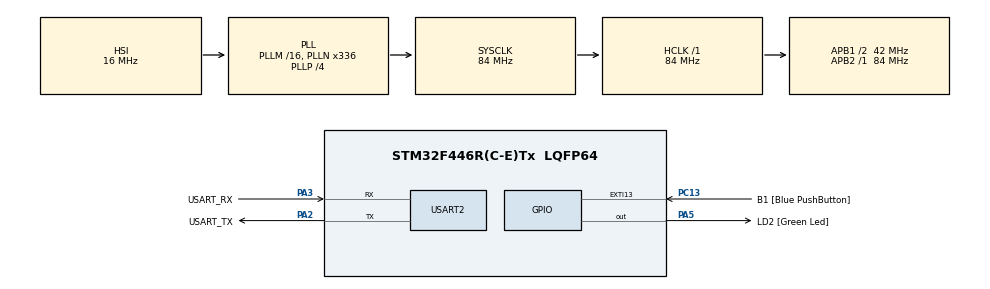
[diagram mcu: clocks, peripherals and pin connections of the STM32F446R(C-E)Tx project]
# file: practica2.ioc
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Mcu.Family=STM32F4
Mcu.Name=STM32F446R(C-E)Tx
Mcu.Package=LQFP64
NVIC.PriorityGroup=NVIC_PRIORITYGROUP_0
PA13.GPIO_Label=TMS
PA13.Mode=Serial_Wire
PA13.Signal=SYS_JTMS-SWDIO
PA14.GPIO_Label=TCK
PA14.Mode=Serial_Wire
PA14.Signal=SYS_JTCK-SWCLK
PA2.GPIO_Label=USART_TX
PA2.Mode=Asynchronous
PA2.Signal=USART2_TX
PA3.GPIO_Label=USART_RX
PA3.Mode=Asynchronous
PA3.Signal=USART2_RX
PA5.GPIO_Label=LD2 [Green Led]
PA5.Signal=GPIO_Output
PB3.GPIO_Label=SWO
PB3.Signal=SYS_JTDO-SWO
PC13.GPIO_Label=B1 [Blue PushButton]
PC13.GPIO_ModeDefaultEXTI=GPIO_MODE_IT_FALLING
PC13.Signal=GPXTI13
PC14-OSC32_IN.Mode=LSE-External-Oscillator
PC14-OSC32_IN.Signal=RCC_OSC32_IN
PC15-OSC32_OUT.Mode=LSE-External-Oscillator
PC15-OSC32_OUT.Signal=RCC_OSC32_OUT
PH0-OSC_IN.Mode=HSE-External-Oscillator
PH0-OSC_IN.Signal=RCC_OSC_IN
PH1-OSC_OUT.Mode=HSE-External-Oscillator
PH1-OSC_OUT.Signal=RCC_OSC_OUT
ProjectManager.HeapSize=0x200
ProjectManager.StackSize=0x400
ProjectManager.TargetToolchain=STM32CubeIDE
RCC.48MHZClocksFreq_Value=84000000
RCC.AHBFreq_Value=84000000
RCC.APB1CLKDivider=RCC_HCLK_DIV2
RCC.APB1Freq_Value=42000000
RCC.APB1TimFreq_Value=84000000
RCC.APB2Freq_Value=84000000
RCC.APB2TimFreq_Value=84000000
RCC.CortexFreq_Value=84000000
RCC.FLatency-AdvancedSettings=FLASH_LATENCY_2
RCC.HCLKFreq_Value=84000000
RCC.HSE_VALUE=8000000
RCC.HSI_VALUE=16000000
RCC.PLLN=336
RCC.PLLP=RCC_PLLP_DIV4
RCC.SYSCLKFreq_VALUE=84000000
RCC.SYSCLKSource=RCC_SYSCLKSOURCE_PLLCLK
RCC.USBFreq_Value=168000000
RCC.VCOOutputFreq_Value=336000000
USART2.VirtualMode=VM_ASYNC
board=NUCLEO-F446RE

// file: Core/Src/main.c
/* USER CODE BEGIN Header */
/**
  ******************************************************************************
  * @file           : main.c
  * @brief          : Main program body
  ******************************************************************************
  * @attention
  *
  * Copyright (c) 2025 STMicroelectronics.
  * All rights reserved.
  *
  * This software is licensed under terms that can be found in the LICENSE file
  * in the root directory of this software component.
  * If no LICENSE file comes with this software, it is provided AS-IS.
  *
  ******************************************************************************
  */
/* USER CODE END Header */
#include "main.h"

UART_HandleTypeDef huart2;

void SystemClock_Config(void);
static void MX_GPIO_Init(void);
static void MX_USART2_UART_Init(void);

/* USER CODE BEGIN 0 */
/**
  * @brief Inicializa la estructura de delay.
  *
  * Configura el retardo inicializando la estructura delay_t con el tiempo actual,
  * asigna la duración especificada y establece el estado del delay como inactivo.
  *
  * @param delay Puntero a la estructura delay_t que se va a inicializar.
  * @param duration Valor en ms que representa la duración del delay.
  *
  * @retval void
  */
void delayInit( delay_t * delay, tick_t duration )
{
	assert(delay);
	delay->startTime = HAL_GetTick();
	delay->duration = duration;
	delay->running = false;
}

/**
  * @brief Verifica y actualiza el estado del delay.
  *
  * Esta función evalúa si ha transcurrido el tiempo especificado en la estructura de delay.
  * Si el delay no estaba en ejecución, se inicia estableciendo el tiempo de inicio actual.
  * Si ya estaba en ejecución, compara el tiempo transcurrido con la duración configurada.
  * Retorna verdadero si el delay ha completado su duración y lo detiene, o falso si aún está en curso.
  *
  * @param delay Puntero a la estructura delay_t que contiene la configuración del delay.
  *
  * @retval bool_t Verdadero si se cumplió la duración del delay, falso en caso contrario.
  */
bool_t delayRead( delay_t * delay )
{
	assert(delay);
	bool_t ret = false;
	uint32_t currentTime = HAL_GetTick();
	if(delay->running == false)
	{
		delay->startTime = currentTime;
		delay->running = true;
	}
	else
	{
		ret = ((currentTime - delay->startTime) >= delay->duration);
		delay->running = !ret; // ret = false -> still running -> running = true :: ret = true -> completed -> running = false
	}

	return ret;
}

/**
  * @brief Modifica la duración del delay.
  *
  * Actualiza la duración del delay en la estructura delay_t con el valor especificado.
  * Esta función permite cambiar el tiempo de espera sin afectar otros parámetros del delay.
  *
  * @param delay Puntero a la estructura delay_t que contiene la configuración del delay.
  * @param duration Nueva duración en ticks para el delay.
  *
  * @retval void
  */
void delayWrite( delay_t * delay, tick_t duration )
{
	assert(delay);
	delay->duration = duration;
}

/**
  * @brief Detiene el delay.
  *
  * Esta función detiene el delay configurando su duración a 0 y marcándolo como no activo.
  *
  * @param delay Puntero a la estructura delay_t que contiene la configuración del delay.
  *
  * @retval void
  */
void delayStop( delay_t * delay )
{
	assert(delay);
	delay->duration = 0;
	delay->running = false;
}
/* USER CODE END 0 */

int main(void)
{

  /* MCU Configuration--------------------------------------------------------*/

  /* Reset of all peripherals, Initializes the Flash interface and the Systick. */
  HAL_Init();

  /* Configure the system clock */
  SystemClock_Config();

  /* Initialize all configured peripherals */
  MX_GPIO_Init();
  MX_USART2_UART_Init();
  /* USER CODE BEGIN 2 */
  delay_t delay_led;
  delay_t delay_antiR;

  GPIO_PinState last_b1 = HAL_GPIO_ReadPin(B1_GPIO_Port, B1_Pin);
  GPIO_PinState current_b1 = last_b1;
  uint32_t periods_array[] = {200, 500}; // para agregar, quitar, cambiar periodos se hace solo aca
  uint8_t ultimo_period = sizeof(periods_array) / sizeof(periods_array[0]) - 1;
  uint8_t selec_period = 0;
  bool_t change_period = false;

  delayInit(&delay_led, periods_array[0]);
  delayInit(&delay_antiR, 50); // anti-rebote para el button
  /* USER CODE END 2 */

  /* Infinite loop */
  /* USER CODE BEGIN WHILE */
  while (1)
  {
	  if(delayRead(&delay_led))
	  {
		  delayRead(&delay_led); // reinicia el delay apenas se cumple y no en el siguiente loop (quizas seria mas claro el codigo con una funcion adicional que se llame delayReset)
		  HAL_GPIO_TogglePin(LD2_GPIO_Port, LD2_Pin);

		  delayWrite(&delay_led, periods_array[selec_period]); // el periodo se setea aca para no cambiar durante un ciclo
		  change_period = false; // false
	  }

	  current_b1 = HAL_GPIO_ReadPin(B1_GPIO_Port, B1_Pin);
	  if(current_b1 != last_b1)
	  {
		  delayRead(&delay_antiR); // reinicia el delay
	  }

	  if (delayRead(&delay_antiR))
	  {
		  if(current_b1 == GPIO_PIN_RESET && current_b1 != last_b1 && change_period == 0) // (change_period -> por si toca dos veces el boton antes de que cambie el period)
		  {
			  selec_period++;
			  if(selec_period > ultimo_period) selec_period = 0;

			  change_period = true;
		  }
	  }

	  last_b1 = current_b1;
    /* USER CODE END WHILE */

  }
}

void SystemClock_Config(void)
{
  RCC_OscInitTypeDef RCC_OscInitStruct = {0};
  RCC_ClkInitTypeDef RCC_ClkInitStruct = {0};

  /** Configure the main internal regulator output voltage
  */
  __HAL_RCC_PWR_CLK_ENABLE();
  __HAL_PWR_VOLTAGESCALING_CONFIG(PWR_REGULATOR_VOLTAGE_SCALE3);

  /** Initializes the RCC Oscillators according to the specified parameters
  * in the RCC_OscInitTypeDef structure.
  */
  RCC_OscInitStruct.OscillatorType = RCC_OSCILLATORTYPE_HSI;
  RCC_OscInitStruct.HSIState = RCC_HSI_ON;
  RCC_OscInitStruct.HSICalibrationValue = RCC_HSICALIBRATION_DEFAULT;
  RCC_OscInitStruct.PLL.PLLState = RCC_PLL_ON;
  RCC_OscInitStruct.PLL.PLLSource = RCC_PLLSOURCE_HSI;
  RCC_OscInitStruct.PLL.PLLM = 16;
  RCC_OscInitStruct.PLL.PLLN = 336;
  RCC_OscInitStruct.PLL.PLLP = RCC_PLLP_DIV4;
  RCC_OscInitStruct.PLL.PLLQ = 2;
  RCC_OscInitStruct.PLL.PLLR = 2;
  if (HAL_RCC_OscConfig(&RCC_OscInitStruct) != HAL_OK)
  {
    Error_Handler();
  }

  /** Initializes the CPU, AHB and APB buses clocks
  */
  RCC_ClkInitStruct.ClockType = RCC_CLOCKTYPE_HCLK|RCC_CLOCKTYPE_SYSCLK
                              |RCC_CLOCKTYPE_PCLK1|RCC_CLOCKTYPE_PCLK2;
  RCC_ClkInitStruct.SYSCLKSource = RCC_SYSCLKSOURCE_PLLCLK;
  RCC_ClkInitStruct.AHBCLKDivider = RCC_SYSCLK_DIV1;
  RCC_ClkInitStruct.APB1CLKDivider = RCC_HCLK_DIV2;
  RCC_ClkInitStruct.APB2CLKDivider = RCC_HCLK_DIV1;

  if (HAL_RCC_ClockConfig(&RCC_ClkInitStruct, FLASH_LATENCY_2) != HAL_OK)
  {
    Error_Handler();
  }
}

static void MX_USART2_UART_Init(void)
{

  huart2.Instance = USART2;
  huart2.Init.BaudRate = 115200;
  huart2.Init.WordLength = UART_WORDLENGTH_8B;
  huart2.Init.StopBits = UART_STOPBITS_1;
  huart2.Init.Parity = UART_PARITY_NONE;
  huart2.Init.Mode = UART_MODE_TX_RX;
  huart2.Init.HwFlowCtl = UART_HWCONTROL_NONE;
  huart2.Init.OverSampling = UART_OVERSAMPLING_16;
  if (HAL_UART_Init(&huart2) != HAL_OK)
  {
    Error_Handler();
  }

}

static void MX_GPIO_Init(void)
{
  GPIO_InitTypeDef GPIO_InitStruct = {0};

  /* GPIO Ports Clock Enable */
  __HAL_RCC_GPIOC_CLK_ENABLE();
  __HAL_RCC_GPIOH_CLK_ENABLE();
  __HAL_RCC_GPIOA_CLK_ENABLE();
  __HAL_RCC_GPIOB_CLK_ENABLE();

  /*Configure GPIO pin Output Level */
  HAL_GPIO_WritePin(LD2_GPIO_Port, LD2_Pin, GPIO_PIN_RESET);

  /*Configure GPIO pin : B1_Pin */
  GPIO_InitStruct.Pin = B1_Pin;
  GPIO_InitStruct.Mode = GPIO_MODE_IT_FALLING;
  GPIO_InitStruct.Pull = GPIO_NOPULL;
  HAL_GPIO_Init(B1_GPIO_Port, &GPIO_InitStruct);

  /*Configure GPIO pin : LD2_Pin */
  GPIO_InitStruct.Pin = LD2_Pin;
  GPIO_InitStruct.Mode = GPIO_MODE_OUTPUT_PP;
  GPIO_InitStruct.Pull = GPIO_NOPULL;
  GPIO_InitStruct.Speed = GPIO_SPEED_FREQ_LOW;
  HAL_GPIO_Init(LD2_GPIO_Port, &GPIO_InitStruct);

}

void Error_Handler(void)
{
  __disable_irq();
  while (1)
  {
  }
}
